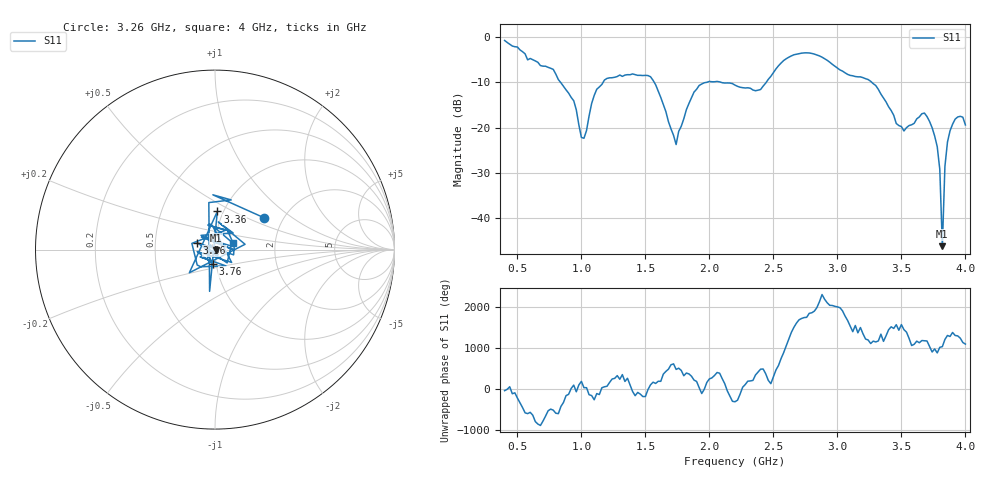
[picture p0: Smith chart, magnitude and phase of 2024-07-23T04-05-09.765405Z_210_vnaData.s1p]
!Created with skrf (http://scikit-rf.org).
# Hz S RI R 50.0
!freq ReS11 ImS11
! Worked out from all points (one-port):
!   181 points, 400 MHz to 4 GHz, reference 50 ohm
!   lowest |S11| = -46.1 dB at 3.82 GHz (marker M1), VSWR 1.01, Z = 50.4 - j0.341 ohm
!   |S11| at or under -10 dB: 1.569 GHz to 1.978 GHz (409.5 MHz wide, 23.1 % of centre); 2.091 GHz to 2.444 GHz (353 MHz wide, 15.6 % of centre); 3.269 GHz to end of sweep (the widest 3 of 4)
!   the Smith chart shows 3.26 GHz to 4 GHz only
!   S11 on the Smith chart (normalised r, x): 3.26 GHz: 1.59, +0.63; 3.36 GHz: 0.94, +0.42; 3.56 GHz: 0.82, +0.06; 3.76 GHz: 0.96, -0.15; 4 GHz: 1.22, +0.09
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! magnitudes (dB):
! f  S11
! 400 MHz  -0.8
! 780 MHz  -7.1
! 860 MHz  -10.9
! 940 MHz  -14.1
! 1 GHz  -22.2
! 1.02 GHz  -22.3
! 1.12 GHz  -11.5
! 1.3 GHz  -8.4
! 1.54 GHz  -8.8
! 1.74 GHz  -23.7
! 1.76 GHz  -20.8
! 1.92 GHz  -10.7
! 2.2 GHz  -10.6
! 2.4 GHz  -11.6
! 2.66 GHz  -3.9
! 3.1 GHz  -8.5
! 3.26 GHz  -9.8
! 3.36 GHz  -13.4
! 3.46 GHz  -19.1
! 3.56 GHz  -19.5
! 3.68 GHz  -16.8
! 3.76 GHz  -21.8
! 3.8 GHz  -29.2
! 3.82 GHz  -46.1
! 3.84 GHz  -28.6
! 3.86 GHz  -23.2
! 3.92 GHz  -18.1
! 4 GHz  -19.4
